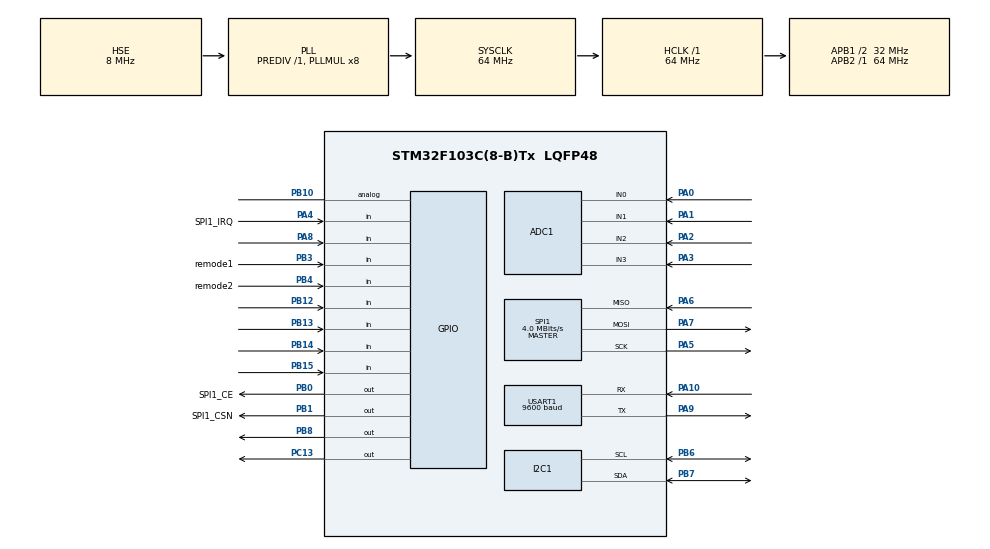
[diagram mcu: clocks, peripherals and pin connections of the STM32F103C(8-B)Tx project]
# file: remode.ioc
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ADC1.Channel-0\#ChannelRegularConversion=ADC_CHANNEL_0
ADC1.Channel-1\#ChannelRegularConversion=ADC_CHANNEL_1
ADC1.Channel-2\#ChannelRegularConversion=ADC_CHANNEL_2
ADC1.Channel-3\#ChannelRegularConversion=ADC_CHANNEL_3
ADC1.Channel-4\#ChannelRegularConversion=ADC_CHANNEL_TEMPSENSOR
ADC1.Channel-5\#ChannelRegularConversion=ADC_CHANNEL_VREFINT
ADC1.ContinuousConvMode=DISABLE
ADC1.DataAlign=ADC_DATAALIGN_RIGHT
ADC1.DiscontinuousConvMode=DISABLE
ADC1.NbrOfConversion=6
ADC1.NbrOfConversionFlag=1
ADC1.Rank-0\#ChannelRegularConversion=1
ADC1.Rank-1\#ChannelRegularConversion=2
ADC1.Rank-2\#ChannelRegularConversion=3
ADC1.Rank-3\#ChannelRegularConversion=4
ADC1.Rank-4\#ChannelRegularConversion=5
ADC1.Rank-5\#ChannelRegularConversion=6
ADC1.SamplingTime-0\#ChannelRegularConversion=ADC_SAMPLETIME_7CYCLES_5
ADC1.SamplingTime-1\#ChannelRegularConversion=ADC_SAMPLETIME_7CYCLES_5
ADC1.SamplingTime-2\#ChannelRegularConversion=ADC_SAMPLETIME_7CYCLES_5
ADC1.SamplingTime-3\#ChannelRegularConversion=ADC_SAMPLETIME_7CYCLES_5
ADC1.SamplingTime-4\#ChannelRegularConversion=ADC_SAMPLETIME_41CYCLES_5
ADC1.SamplingTime-5\#ChannelRegularConversion=ADC_SAMPLETIME_41CYCLES_5
ADC1.master=1
Dma.ADC1.2.Direction=DMA_PERIPH_TO_MEMORY
Dma.ADC1.2.Instance=DMA1_Channel1
Dma.ADC1.2.MemDataAlignment=DMA_MDATAALIGN_HALFWORD
Dma.ADC1.2.MemInc=DMA_MINC_ENABLE
Dma.ADC1.2.Mode=DMA_NORMAL
Dma.ADC1.2.PeriphDataAlignment=DMA_PDATAALIGN_HALFWORD
Dma.ADC1.2.PeriphInc=DMA_PINC_DISABLE
Dma.ADC1.2.Priority=DMA_PRIORITY_LOW
Dma.I2C1_RX.0.Direction=DMA_PERIPH_TO_MEMORY
Dma.I2C1_RX.0.Instance=DMA1_Channel7
Dma.I2C1_RX.0.MemDataAlignment=DMA_MDATAALIGN_BYTE
Dma.I2C1_RX.0.MemInc=DMA_MINC_ENABLE
Dma.I2C1_RX.0.Mode=DMA_NORMAL
Dma.I2C1_RX.0.PeriphDataAlignment=DMA_PDATAALIGN_BYTE
Dma.I2C1_RX.0.PeriphInc=DMA_PINC_DISABLE
Dma.I2C1_RX.0.Priority=DMA_PRIORITY_MEDIUM
Dma.I2C1_TX.1.Direction=DMA_MEMORY_TO_PERIPH
Dma.I2C1_TX.1.Instance=DMA1_Channel6
Dma.I2C1_TX.1.MemDataAlignment=DMA_MDATAALIGN_BYTE
Dma.I2C1_TX.1.MemInc=DMA_MINC_ENABLE
Dma.I2C1_TX.1.Mode=DMA_NORMAL
Dma.I2C1_TX.1.PeriphDataAlignment=DMA_PDATAALIGN_BYTE
Dma.I2C1_TX.1.PeriphInc=DMA_PINC_DISABLE
Dma.I2C1_TX.1.Priority=DMA_PRIORITY_MEDIUM
Dma.Request0=I2C1_RX
Dma.Request1=I2C1_TX
Dma.Request2=ADC1
Dma.Request3=SPI1_RX
Dma.Request4=SPI1_TX
Dma.SPI1_RX.3.Direction=DMA_PERIPH_TO_MEMORY
Dma.SPI1_RX.3.Instance=DMA1_Channel2
Dma.SPI1_RX.3.MemDataAlignment=DMA_MDATAALIGN_BYTE
Dma.SPI1_RX.3.MemInc=DMA_MINC_ENABLE
Dma.SPI1_RX.3.Mode=DMA_NORMAL
Dma.SPI1_RX.3.PeriphDataAlignment=DMA_PDATAALIGN_BYTE
Dma.SPI1_RX.3.PeriphInc=DMA_PINC_DISABLE
Dma.SPI1_RX.3.Priority=DMA_PRIORITY_HIGH
Dma.SPI1_TX.4.Direction=DMA_MEMORY_TO_PERIPH
Dma.SPI1_TX.4.Instance=DMA1_Channel3
Dma.SPI1_TX.4.MemDataAlignment=DMA_MDATAALIGN_BYTE
Dma.SPI1_TX.4.MemInc=DMA_MINC_ENABLE
Dma.SPI1_TX.4.Mode=DMA_NORMAL
Dma.SPI1_TX.4.PeriphDataAlignment=DMA_PDATAALIGN_BYTE
Dma.SPI1_TX.4.PeriphInc=DMA_PINC_DISABLE
Dma.SPI1_TX.4.Priority=DMA_PRIORITY_HIGH
I2C1.I2C_Mode=I2C_Fast
I2C1.OwnAddress=0
Mcu.Family=STM32F1
Mcu.Name=STM32F103C(8-B)Tx
Mcu.Package=LQFP48
NVIC.ADC1_2_IRQn=true\:0\:0\:false\:false\:true\:true\:true\:true
NVIC.DMA1_Channel1_IRQn=true\:0\:0\:false\:false\:true\:false\:true\:true
NVIC.DMA1_Channel2_IRQn=true\:0\:0\:false\:false\:true\:false\:true\:true
NVIC.DMA1_Channel3_IRQn=true\:0\:0\:false\:false\:true\:false\:true\:true
NVIC.DMA1_Channel6_IRQn=true\:0\:0\:false\:false\:true\:false\:true\:true
NVIC.DMA1_Channel7_IRQn=true\:0\:0\:false\:false\:true\:false\:true\:true
NVIC.FLASH_IRQn=true\:0\:0\:false\:false\:true\:true\:true\:true
NVIC.I2C1_ER_IRQn=true\:0\:0\:false\:false\:true\:true\:true\:true
NVIC.I2C1_EV_IRQn=true\:0\:0\:false\:false\:true\:true\:true\:true
NVIC.PriorityGroup=NVIC_PRIORITYGROUP_4
NVIC.RCC_IRQn=true\:0\:0\:false\:false\:true\:true\:false\:true
NVIC.SPI1_IRQn=true\:0\:0\:false\:false\:true\:true\:true\:true
NVIC.TIM1_UP_IRQn=true\:0\:0\:false\:false\:true\:true\:true\:true
NVIC.USART1_IRQn=true\:0\:0\:false\:false\:true\:true\:true\:true
PA0-WKUP.Signal=ADCx_IN0
PA1.Signal=ADCx_IN1
PA10.Mode=Asynchronous
PA10.Signal=USART1_RX
PA13.Mode=Serial_Wire
PA13.Signal=SYS_JTMS-SWDIO
PA14.Mode=Serial_Wire
PA14.Signal=SYS_JTCK-SWCLK
PA2.Signal=ADCx_IN2
PA3.Signal=ADCx_IN3
PA4.GPIO_Label=SPI1_IRQ
PA4.GPIO_PuPd=GPIO_PULLUP
PA4.Signal=GPIO_Input
PA5.Mode=Full_Duplex_Master
PA5.Signal=SPI1_SCK
PA6.Mode=Full_Duplex_Master
PA6.Signal=SPI1_MISO
PA7.Mode=Full_Duplex_Master
PA7.Signal=SPI1_MOSI
PA8.Signal=GPIO_Input
PA9.Mode=Asynchronous
PA9.Signal=USART1_TX
PB0.GPIO_Label=SPI1_CE
PB0.GPIO_Speed=GPIO_SPEED_FREQ_HIGH
PB0.PinState=GPIO_PIN_SET
PB0.Signal=GPIO_Output
PB1.GPIO_Label=SPI1_CSN
PB1.GPIO_Speed=GPIO_SPEED_FREQ_HIGH
PB1.PinState=GPIO_PIN_SET
PB1.Signal=GPIO_Output
PB10.Signal=GPIO_Analog
PB12.GPIO_PuPd=GPIO_PULLUP
PB12.Signal=GPIO_Input
PB13.GPIO_PuPd=GPIO_PULLUP
PB13.Signal=GPIO_Input
PB14.GPIO_PuPd=GPIO_PULLUP
PB14.Signal=GPIO_Input
PB15.GPIO_PuPd=GPIO_PULLUP
PB15.Signal=GPIO_Input
PB3.GPIO_Label=remode1
PB3.GPIO_PuPd=GPIO_PULLUP
PB3.Signal=GPIO_Input
PB4.GPIO_Label=remode2
PB4.GPIO_PuPd=GPIO_PULLUP
PB4.Signal=GPIO_Input
PB6.GPIO_Mode=GPIO_MODE_AF_OD
PB6.Mode=I2C
PB6.Signal=I2C1_SCL
PB7.Mode=I2C
PB7.Signal=I2C1_SDA
PB8.GPIO_ModeDefaultOutputPP=GPIO_MODE_OUTPUT_OD
PB8.GPIO_PuPd=GPIO_PULLUP
PB8.Signal=GPIO_Output
PC13-TAMPER-RTC.GPIO_ModeDefaultOutputPP=GPIO_MODE_OUTPUT_PP
PC13-TAMPER-RTC.GPIO_PuPd=GPIO_NOPULL
PC13-TAMPER-RTC.Signal=GPIO_Output
PC14-OSC32_IN.Mode=LSE-External-Oscillator
PC14-OSC32_IN.Signal=RCC_OSC32_IN
PC15-OSC32_OUT.Mode=LSE-External-Oscillator
PC15-OSC32_OUT.Signal=RCC_OSC32_OUT
PD0-OSC_IN.Mode=HSE-External-Oscillator
PD0-OSC_IN.Signal=RCC_OSC_IN
PD1-OSC_OUT.Mode=HSE-External-Oscillator
PD1-OSC_OUT.Signal=RCC_OSC_OUT
ProjectManager.HeapSize=0x200
ProjectManager.StackSize=0x400
ProjectManager.TargetToolchain=STM32CubeIDE
RCC.ADCPresc=RCC_ADCPCLK2_DIV8
RCC.AHBFreq_Value=64000000
RCC.APB1CLKDivider=RCC_HCLK_DIV2
RCC.APB1Freq_Value=32000000
RCC.APB1TimFreq_Value=64000000
RCC.APB2Freq_Value=64000000
RCC.APB2TimFreq_Value=64000000
RCC.HCLKFreq_Value=64000000
RCC.PLLMUL=RCC_PLL_MUL8
RCC.PLLSourceVirtual=RCC_PLLSOURCE_HSE
RCC.SYSCLKFreq_VALUE=64000000
RCC.SYSCLKSource=RCC_SYSCLKSOURCE_PLLCLK
RCC.USBFreq_Value=64000000
SH.ADCx_IN0.0=ADC1_IN0,IN0
SH.ADCx_IN1.0=ADC1_IN1,IN1
SH.ADCx_IN2.0=ADC1_IN2,IN2
SH.ADCx_IN3.0=ADC1_IN3,IN3
SPI1.BaudRatePrescaler=SPI_BAUDRATEPRESCALER_16
SPI1.CalculateBaudRate=4.0 MBits/s
SPI1.Direction=SPI_DIRECTION_2LINES
SPI1.Mode=SPI_MODE_MASTER
SPI1.VirtualType=VM_MASTER
TIM1.AutoReloadPreload=TIM_AUTORELOAD_PRELOAD_ENABLE
TIM1.Period=999
TIM1.Prescaler=6399
USART1.BaudRate=9600
USART1.VirtualMode=VM_ASYNC
VP_ADC1_TempSens_Input.Mode=IN-TempSens
VP_ADC1_Vref_Input.Mode=IN-Vrefint
VP_TIM1_VS_ClockSourceINT.Mode=Internal
board=custom

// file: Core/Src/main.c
/* USER CODE BEGIN Header */
/**
 ******************************************************************************
 * @file           : main.c
 * @brief          : Main program body
 ******************************************************************************
 * @attention
 *
 * Copyright (c) 2025 STMicroelectronics.
 * All rights reserved.
 *
 * This software is licensed under terms that can be found in the LICENSE file
 * in the root directory of this software component.
 * If no LICENSE file comes with this software, it is provided AS-IS.
 *
 ******************************************************************************
 */
/* USER CODE END Header */
#include "main.h"
#include "adc.h"
#include "dma.h"
#include "i2c.h"
#include "spi.h"
#include "tim.h"
#include "usart.h"
#include "gpio.h"

/* USER CODE BEGIN Includes */
#include "oled.h"
#include <stdio.h>
#include <stdlib.h>
#include <string.h>
#include "nrf24l01.h"
#include "key.h"
/* USER CODE END Includes */

/* USER CODE BEGIN PTD */

#define ADC_CHANNELS     4     // 摇杆通道数
#define DEADZONE_THRESHOLD 200
#define FILTER_WINDOW 8

uint16_t values[4];
//char message[4][20];
// 在全局变量区域声明
#define MAX_MSG_LEN 20
char tx_buffer[MAX_MSG_LEN]; // 统一发送缓冲区

char remode1[50] = "";
char remode2[50] = "";
char Rx_data[10] = "";
char data_ready = 0;

uint8_t g_TxMode = 0, g_UartRxFlag = 0;
uint8_t g_UartRxBuffer[32] = { 0 };
uint8_t g_RF24L01RxBuffer[32] = { 0 };
// 定义3个不同的缓冲区用于存储接收数据
uint8_t g_RF24L01RxBuffer1[32] = { 0 };
uint8_t g_RF24L01RxBuffer2[32] = { 0 };
uint8_t g_RF24L01RxBuffer3[32] = { 0 };
uint8_t current_buffer = 1; // 当前使用的缓冲区编号(1-3)
uint8_t refresh_flag = 0;   // 数据刷新标志
uint8_t ADC_State = 0;
uint8_t conversion = 0; // nrf24l01转换标志
uint8_t TX_Errow = 0;

volatile uint16_t adc_raw[ADC_CHANNELS];          // DMA原始数据
volatile uint16_t filtered_values[ADC_CHANNELS];  // 滤波后数据
volatile uint8_t timerflag = 0;

extern volatile uint32_t clean;
extern uint8_t key1_state, key2_state , key3_state, key4_state ;
extern uint8_t key1, key2 , key3, key4;
extern uint8_t key[];
typedef struct
{
    uint16_t buffer[FILTER_WINDOW];
    uint8_t index;
} MovingFilter;

MovingFilter joystick_filters[ADC_CHANNELS]; // 每个通道独立滤波器

/* USER CODE END PTD */

void SystemClock_Config(void);

/* USER CODE BEGIN 0 */

void HAL_ADC_ConvHalfCpltCallback(ADC_HandleTypeDef *hadc)
{
    if (hadc == &hadc1)
    {
        static uint8_t i = 0;
//    i++;
        // 遍历所有通道进行滤波
        for (uint8_t ch = 0; ch < ADC_CHANNELS; ch++)
        {
            // 更新滤波器
            joystick_filters[ch].buffer[joystick_filters[ch].index] = adc_raw[ch];
            joystick_filters[ch].index = (joystick_filters[ch].index + 1) % FILTER_WINDOW;

            // 计算滑动平均
            uint32_t sum = 0;
            for (uint8_t i = 0; i < FILTER_WINDOW; i++)
            {
                sum += joystick_filters[ch].buffer[i];
            }
            filtered_values[ch] = sum / FILTER_WINDOW;
            if (abs(filtered_values[ch] - 2048) <= DEADZONE_THRESHOLD)
            {
                filtered_values[ch] = 2048;
            }
        }
        if (filtered_values[0] == 2048)
            i = 1;
        if (i == 1)
        {
            filtered_values[4]=key[0];
            snprintf(tx_buffer , MAX_MSG_LEN , "%d,%d,%d,%d,%d," , filtered_values[0] , filtered_values[1] ,
                    filtered_values[3] , filtered_values[4], filtered_values[2]);

            sprintf(remode1 , "%d,%d " , filtered_values[0] , filtered_values[1]);
            sprintf(remode2 , "%d,%d %d" , filtered_values[2] , filtered_values[3],filtered_values[4] );

        }
    }
}

void HAL_TIM_PeriodElapsedCallback(TIM_HandleTypeDef *htim)
{
    if (htim->Instance == TIM1)
    {
        timerflag++; // 设置2000ms标志
    }
}
/* USER CODE END 0 */

int main(void)
{

  /* USER CODE BEGIN 1 */
    uint8_t i = 0;
  /* USER CODE END 1 */

  /* MCU Configuration--------------------------------------------------------*/

  /* Reset of all peripherals, Initializes the Flash interface and the Systick. */
  HAL_Init();

  /* USER CODE BEGIN Init */
    HAL_SYSTICK_IRQHandler();
  /* USER CODE END Init */

  /* Configure the system clock */
  SystemClock_Config();

  /* Initialize all configured peripherals */
  MX_GPIO_Init();
  MX_DMA_Init();
  MX_I2C1_Init();
  MX_ADC1_Init();
  MX_SPI1_Init();
  MX_USART1_UART_Init();
  MX_TIM1_Init();
  /* USER CODE BEGIN 2 */
    // 启动定时器中断
    HAL_TIM_Base_Start_IT(&htim1);

    // 初始化滤波器结构体
    memset(joystick_filters , 0 , sizeof(joystick_filters));
    HAL_ADCEx_Calibration_Start(&hadc1);
    hadc1.Instance->CR2 |= ADC_CR2_CAL;  // 启动内部校准
    while (hadc1.Instance->CR2 & ADC_CR2_CAL); // 等待校准完成

    OLED_Init();                           //OLED初始
    OLED_ShowString(42 , 3 , "hellow" , 12 , 0);    //反相显示8X16字符串

    //RF24L01引脚初始化
    NRF24L01_Gpio_Init();

    //检测nRF24L01
    while (NRF24L01_check_DMA() == 0);
    RF24L01_Init_DMA();
    RF24L01_Set_Mode_DMA(MODE_TX);        //发送模式

  /* USER CODE END 2 */

  /* Infinite loop */
  /* USER CODE BEGIN WHILE */
    while (1)
    {
        HAL_ADC_Start_DMA(&hadc1 , (uint32_t*) adc_raw , ADC_CHANNELS);
        key_scan();
        if (timerflag >= 2)
        {
            if ((NRF24L01_TxPacket_DMA((uint8_t*) tx_buffer , strlen(tx_buffer)) == TX_OK))
            {
            }
            else
            {
                if (clean >= 18)// oled页面刷新18次后显示
                {
                    TX_Errow++;

                }
                else
                    TX_Errow = 0;
                if (TX_Errow >= 1)
                {
//                    HAL_GPIO_TogglePin(GPIOC , GPIO_PIN_13);
                    memset(g_RF24L01RxBuffer , 0 , sizeof(g_RF24L01RxBuffer)); // 清空接收缓冲区
                    TX_Errow = 0;
                    conversion = 1;
                }
            }
            timerflag = 0; // 清除标志
        }
        if (clean >= 18 && conversion == 1)
        {
            uint32_t timeout = 50000; // 设置超时计数
            uint8_t rx_status = 0;

            /* 切换LED状态，指示接收状态 */
            HAL_GPIO_TogglePin(GPIOC, GPIO_PIN_13);

            /* 切换到接收模式 */
            RF24L01_Set_Mode_DMA(MODE_RX);

            /* 等待接收数据，添加超时机制 */
            while ((rx_status = NRF24L01_RxPacket_DMA(g_RF24L01RxBuffer)) == 0)
            {
                timeout--;
                if (timeout == 0)
                {
                    /* 超时处理 */
                    OLED_ShowString(0, 6, "RX Timeout", 12, 0);
                    break;
                }
            }

            /* 如果成功接收数据 */
            if (rx_status != 0 && timeout > 0)
            {
                /* 根据数据类型显示在不同位置 */
                if (g_RF24L01RxBuffer[0] == '1')
                {
                    OLED_ShowString(0, 3, g_RF24L01RxBuffer, 12, 0);
                }
                else if (g_RF24L01RxBuffer[0] == '2')
                {
                    OLED_ShowString(0, 4, g_RF24L01RxBuffer, 12, 0);
                }
                else if (g_RF24L01RxBuffer[0] == '3')
                {
                    OLED_ShowString(0, 5, g_RF24L01RxBuffer, 12, 0);
                }
//                else
//                {
//                    /* 默认显示在第3行 */
//                    OLED_ShowString(0, 3, g_RF24L01RxBuffer, 12, 0);
//                }
            }

            /* 切回发送模式 */
            RF24L01_Set_Mode_DMA(MODE_TX);
            conversion = 0; // 清除转换标志
        }
        OLED_ShowString(0 , 0 , remode1 , 12 , 0);
        OLED_ShowString(64 , 0 , remode2 , 12 , 0);

        if (clean >= 15 && i == 0) //oled刷新15次后显示
        {
            OLED_Clear();
            i = 1;

            HAL_GPIO_WritePin(GPIOC , GPIO_PIN_13 , 0);
        }

    /* USER CODE END WHILE */

    }
}

void SystemClock_Config(void)
{
  RCC_OscInitTypeDef RCC_OscInitStruct = {0};
  RCC_ClkInitTypeDef RCC_ClkInitStruct = {0};
  RCC_PeriphCLKInitTypeDef PeriphClkInit = {0};

  /** Initializes the RCC Oscillators according to the specified parameters
  * in the RCC_OscInitTypeDef structure.
  */
  RCC_OscInitStruct.OscillatorType = RCC_OSCILLATORTYPE_HSE;
  RCC_OscInitStruct.HSEState = RCC_HSE_ON;
  RCC_OscInitStruct.HSEPredivValue = RCC_HSE_PREDIV_DIV1;
  RCC_OscInitStruct.HSIState = RCC_HSI_ON;
  RCC_OscInitStruct.PLL.PLLState = RCC_PLL_ON;
  RCC_OscInitStruct.PLL.PLLSource = RCC_PLLSOURCE_HSE;
  RCC_OscInitStruct.PLL.PLLMUL = RCC_PLL_MUL8;
  if (HAL_RCC_OscConfig(&RCC_OscInitStruct) != HAL_OK)
  {
    Error_Handler();
  }

  /** Initializes the CPU, AHB and APB buses clocks
  */
  RCC_ClkInitStruct.ClockType = RCC_CLOCKTYPE_HCLK|RCC_CLOCKTYPE_SYSCLK
                              |RCC_CLOCKTYPE_PCLK1|RCC_CLOCKTYPE_PCLK2;
  RCC_ClkInitStruct.SYSCLKSource = RCC_SYSCLKSOURCE_PLLCLK;
  RCC_ClkInitStruct.AHBCLKDivider = RCC_SYSCLK_DIV1;
  RCC_ClkInitStruct.APB1CLKDivider = RCC_HCLK_DIV2;
  RCC_ClkInitStruct.APB2CLKDivider = RCC_HCLK_DIV1;

  if (HAL_RCC_ClockConfig(&RCC_ClkInitStruct, FLASH_LATENCY_2) != HAL_OK)
  {
    Error_Handler();
  }
  PeriphClkInit.PeriphClockSelection = RCC_PERIPHCLK_ADC;
  PeriphClkInit.AdcClockSelection = RCC_ADCPCLK2_DIV8;
  if (HAL_RCCEx_PeriphCLKConfig(&PeriphClkInit) != HAL_OK)
  {
    Error_Handler();
  }
}

void Error_Handler(void)
{
    __disable_irq();
    while (1)
    {
    }
}
